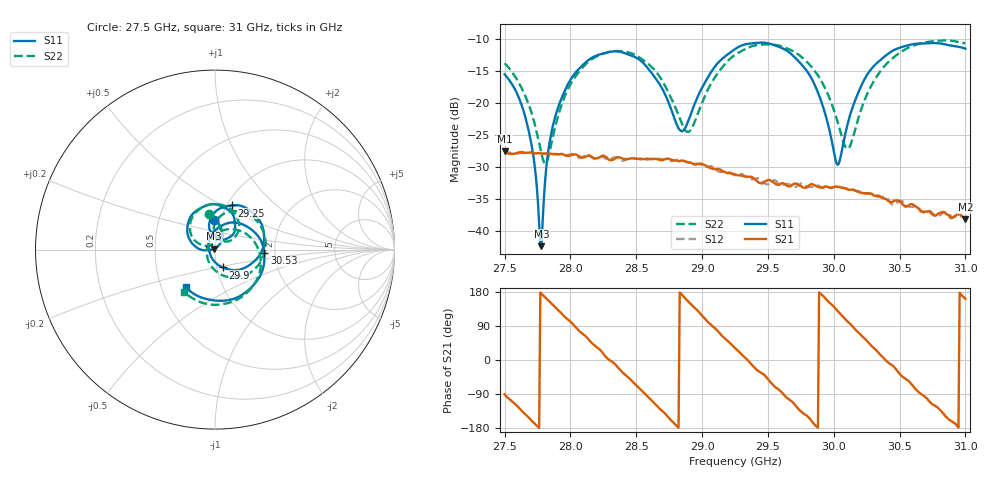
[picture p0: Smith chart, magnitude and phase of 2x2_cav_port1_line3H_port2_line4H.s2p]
!Created with skrf (http://scikit-rf.org).
# GHz S RI R 50.0
!freq ReS11 ImS11 ReS21 ImS21 ReS12 ImS12 ReS22 ImS22
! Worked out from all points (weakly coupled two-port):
!   401 points, 27.5 GHz to 31 GHz, reference 50 ohm
!   highest |S21| = -27.52 dB at 27.5 GHz (marker M1); lowest = -38.1 dB at 31 GHz (marker M2)
!   lowest |S11| = -42.4 dB at 27.78 GHz (marker M3), VSWR 1.02, Z = 49.4 + j0.505 ohm
!   |S11| at or under -10 dB: start of sweep to end of sweep
!   |S22| runs from -29.4 to -10.2 dB; largest |S21 - S12| = 0.0022
!   S11 on the Smith chart (normalised r, x): 27.5 GHz: 0.94, +0.32; 29.25 GHz: 1.06, +0.56; 29.9 GHz: 1.07, -0.21; 30.53 GHz: 1.76, -0.08; 31 GHz: 0.67, -0.30
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27.5  -0.00313 0.1676  -0.000353 -0.0421  0.000248 -0.0419  -0.0358 0.2011
27.675  0.0366 0.0544  -0.0351 -0.021  -0.0349 -0.0209  0.0301 0.0975
27.78  -0.00563 0.00511  -0.0402 0.0037  -0.04 0.00369  -0.000862 0.0402
27.82375  -0.0362 -0.00344  -0.0378 0.0139  -0.0379 0.0139  -0.0248 0.0253
27.87625  -0.0725 -0.00211  -0.0316 0.0244  -0.0312 0.0242  -0.0563 0.0219
28.08625  -0.1542 0.119  0.0125 0.0356  0.0114 0.0356  -0.1395 0.1235
28.375  0.00818 0.2512  0.034 -0.016  0.0322 -0.0161  0.0148 0.2535
28.6725  0.1064 0.0946  -0.0215 -0.0289  -0.0215 -0.0298  0.1297 0.1002
28.83  0.0306 0.0533  -0.0351 0.00105  -0.0358 0.0011  0.0613 0.0448
28.89125  0.00157 0.0707  -0.0315 0.0142  -0.0311 0.0141  0.0273 0.0526
29.06625  -0.0238 0.1713  -0.00195 0.0309  -0.00228 0.0321  -0.00307 0.1406
29.25  0.0939 0.2463  0.0236 0.0145  0.0231 0.0145  0.1009 0.2147
29.55625  0.2737 0.0635  0.00734 -0.0221  0.00826 -0.0234  0.2822 0.0334
29.83625  0.1002 -0.1144  -0.0221 -0.00696  -0.0211 -0.00666  0.1075 -0.1554
29.8975  0.0429 -0.0993  -0.0219 0.0017  -0.0221 0.00212  0.0482 -0.1458
30.02875  -0.0317 -0.00862  -0.0142 0.0169  -0.0139 0.017  -0.0378 -0.0608
30.1075  -0.0289 0.0634  -0.00393 0.0207  -0.00362 0.0208  -0.0424 0.0115
30.2475  0.0694 0.1469  0.012 0.0155  0.012 0.0154  0.0411 0.1059
30.4225  0.2303 0.0863  0.0168 -0.00269  0.0167 -0.00365  0.2034 0.0633
30.5275  0.2747 -0.0208  0.0111 -0.0114  0.0119 -0.0118  0.2531 -0.0416
30.79  0.1001 -0.2758  -0.00788 -0.0111  -0.00771 -0.0104  0.0884 -0.293
31  -0.162 -0.2104  -0.0117 0.00393  -0.012 0.00352  -0.1732 -0.2357
